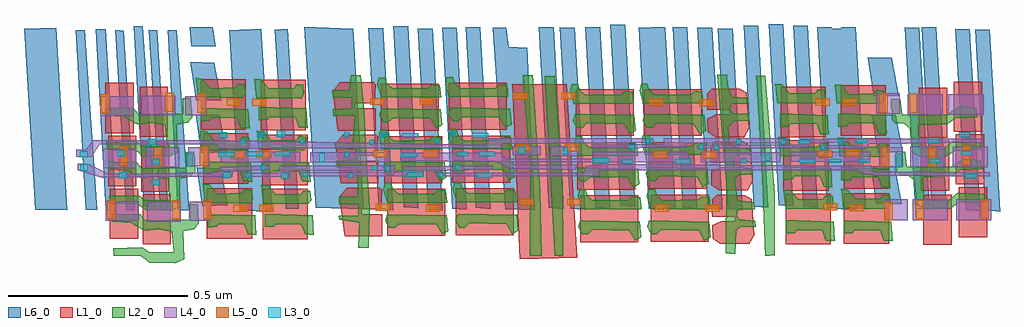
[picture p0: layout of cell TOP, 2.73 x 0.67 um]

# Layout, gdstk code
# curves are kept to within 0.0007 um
import gdstk
lib = gdstk.Library(unit=1e-6, precision=1e-09)
def R(c, l, rs):  # rectangles x0, y0, x1, y1
    for r in rs: c.add(gdstk.rectangle(r[:2], r[2:], *l))
def P(c, l, *ps):  # polygons
    for p in ps: c.add(gdstk.Polygon(p, *l))
L1_0 = (1, 0)
L2_0 = (2, 0)
L3_0 = (3, 0)
L4_0 = (4, 0)
L5_0 = (5, 0)
L6_0 = (6, 0)

top = lib.new_cell('TOP')
R(top, L1_0, [(2.863,-0.75,2.942,-0.61), (0.682,-0.749,0.761,-0.609), (2.478,-0.749,2.604,-0.608), (2.641,-0.747,2.767,-0.606), (1.905,-0.743,2.067,-0.612), (2.101,-0.741,2.263,-0.61), (1.018,-0.735,1.144,-0.594), (0.591,-0.733,0.67,-0.593), (0.862,-0.733,0.988,-0.592), (2.962,-0.729,3.041,-0.589), (1.365,-0.724,1.527,-0.593), (1.557,-0.723,1.719,-0.592), (0.678,-0.602,0.757,-0.462), (2.472,-0.599,2.598,-0.458), (2.856,-0.599,2.935,-0.459), (1.896,-0.596,2.058,-0.465), (2.096,-0.594,2.258,-0.463), (2.641,-0.593,2.767,-0.452), (0.586,-0.586,0.665,-0.446), (1.017,-0.583,1.143,-0.442), (2.954,-0.581,3.033,-0.441), (0.852,-0.579,0.978,-0.438), (1.357,-0.578,1.519,-0.447), (1.547,-0.576,1.709,-0.445), (2.85,-0.451,2.929,-0.311), (2.464,-0.449,2.59,-0.308), (0.674,-0.448,0.753,-0.308), (1.892,-0.446,2.054,-0.315), (2.082,-0.446,2.244,-0.315), (2.632,-0.446,2.758,-0.305), (0.578,-0.438,0.657,-0.298), (2.948,-0.434,3.027,-0.294), (1.348,-0.431,1.51,-0.3), (1.012,-0.43,1.138,-0.289), (0.845,-0.428,0.971,-0.287), (1.537,-0.428,1.699,-0.297)])
P(top, L1_0, [(1.735,-0.79),(1.714,-0.3),(1.867,-0.301),(1.896,-0.786)],
  [(1.228,-0.431),(1.213,-0.321),(1.233,-0.296),(1.326,-0.295),(1.333,-0.301),(1.331,-0.355),(1.276,-0.356),(1.275,-0.368),(1.333,-0.368),(1.333,-0.431)],
  [(1.236,-0.578),(1.22,-0.467),(1.241,-0.442),(1.333,-0.441),(1.34,-0.448),(1.338,-0.501),(1.283,-0.503),(1.283,-0.514),(1.34,-0.515),(1.341,-0.578)],
  [(1.247,-0.726),(1.231,-0.616),(1.252,-0.591),(1.345,-0.59),(1.351,-0.596),(1.349,-0.65),(1.295,-0.651),(1.294,-0.663),(1.351,-0.664),(1.352,-0.726)],
  [(2.282,-0.449),(2.261,-0.436),(2.26,-0.398),(2.285,-0.386),(2.323,-0.385),(2.322,-0.376),(2.286,-0.373),(2.26,-0.374),(2.258,-0.356),(2.259,-0.326),(2.273,-0.312),(2.35,-0.314),(2.37,-0.325),(2.377,-0.425),(2.363,-0.449)],
  [(2.292,-0.597),(2.271,-0.583),(2.27,-0.545),(2.295,-0.534),(2.333,-0.533),(2.332,-0.523),(2.296,-0.521),(2.27,-0.521),(2.268,-0.503),(2.269,-0.473),(2.283,-0.459),(2.36,-0.461),(2.38,-0.473),(2.387,-0.573),(2.373,-0.597)],
  [(2.296,-0.747),(2.275,-0.733),(2.274,-0.695),(2.299,-0.684),(2.337,-0.683),(2.336,-0.673),(2.3,-0.671),(2.274,-0.671),(2.272,-0.653),(2.273,-0.623),(2.287,-0.609),(2.364,-0.611),(2.384,-0.623),(2.391,-0.723),(2.377,-0.747)])
P(top, L2_0, [(0.763,-0.655),(0.692,-0.654),(0.668,-0.636),(0.591,-0.635),(0.589,-0.613),(0.671,-0.611),(0.69,-0.625),(0.758,-0.624),(0.753,-0.567),(0.716,-0.56),(0.681,-0.564),(0.669,-0.561),(0.639,-0.543),(0.588,-0.54),(0.587,-0.517),(0.664,-0.518),(0.68,-0.536),(0.803,-0.533),(0.803,-0.491),(0.826,-0.489),(0.829,-0.544),(0.817,-0.56),(0.786,-0.566),(0.788,-0.644)],
  [(0.755,-0.504),(0.684,-0.503),(0.66,-0.485),(0.583,-0.484),(0.581,-0.462),(0.663,-0.46),(0.682,-0.474),(0.75,-0.473),(0.745,-0.416),(0.707,-0.409),(0.673,-0.414),(0.661,-0.411),(0.631,-0.392),(0.58,-0.389),(0.579,-0.366),(0.656,-0.367),(0.671,-0.385),(0.795,-0.382),(0.795,-0.34),(0.817,-0.338),(0.821,-0.393),(0.809,-0.409),(0.778,-0.415),(0.78,-0.493)],
  [(0.774,-0.801),(0.702,-0.8),(0.678,-0.782),(0.602,-0.781),(0.6,-0.759),(0.681,-0.757),(0.701,-0.771),(0.769,-0.77),(0.764,-0.713),(0.726,-0.706),(0.691,-0.71),(0.68,-0.707),(0.649,-0.689),(0.598,-0.686),(0.597,-0.663),(0.675,-0.664),(0.69,-0.682),(0.813,-0.679),(0.813,-0.637),(0.836,-0.635),(0.839,-0.69),(0.827,-0.706),(0.796,-0.712),(0.798,-0.79)],
  [(1.284,-0.76),(1.288,-0.688),(1.232,-0.68),(1.23,-0.669),(1.284,-0.667),(1.285,-0.637),(1.232,-0.636),(1.232,-0.616),(1.283,-0.616),(1.282,-0.538),(1.224,-0.534),(1.223,-0.515),(1.275,-0.511),(1.278,-0.485),(1.221,-0.481),(1.219,-0.465),(1.269,-0.464),(1.275,-0.39),(1.215,-0.391),(1.214,-0.371),(1.267,-0.368),(1.267,-0.341),(1.214,-0.338),(1.212,-0.318),(1.26,-0.318),(1.263,-0.277),(1.291,-0.277),(1.301,-0.375),(1.316,-0.646),(1.314,-0.758)],
  [(0.988,-0.575),(0.964,-0.573),(0.954,-0.545),(0.882,-0.544),(0.876,-0.552),(0.851,-0.554),(0.851,-0.516),(0.984,-0.52)],
  [(0.981,-0.635),(0.856,-0.633),(0.85,-0.58),(0.869,-0.581),(0.891,-0.607),(0.962,-0.605),(0.969,-0.595),(0.988,-0.597),(0.99,-0.624)],
  [(0.981,-0.426),(0.957,-0.424),(0.947,-0.396),(0.875,-0.395),(0.87,-0.403),(0.845,-0.405),(0.845,-0.367),(0.978,-0.371)],
  [(1.143,-0.424),(1.119,-0.422),(1.109,-0.394),(1.037,-0.394),(1.032,-0.401),(1.006,-0.403),(1.006,-0.365),(1.14,-0.369)],
  [(1.152,-0.575),(1.128,-0.572),(1.117,-0.544),(1.045,-0.544),(1.04,-0.551),(1.015,-0.553),(1.015,-0.515),(1.148,-0.519)],
  [(1.16,-0.723),(1.136,-0.721),(1.126,-0.692),(1.054,-0.692),(1.049,-0.7),(1.023,-0.701),(1.023,-0.663),(1.157,-0.668)],
  [(1,-0.723),(0.976,-0.721),(0.966,-0.693),(0.894,-0.692),(0.889,-0.7),(0.864,-0.702),(0.864,-0.664),(0.997,-0.668)],
  [(2.609,-0.59),(2.585,-0.588),(2.575,-0.56),(2.503,-0.559),(2.498,-0.567),(2.472,-0.569),(2.472,-0.531),(2.606,-0.535)],
  [(2.771,-0.592),(2.747,-0.589),(2.737,-0.561),(2.665,-0.561),(2.66,-0.569),(2.634,-0.57),(2.634,-0.532),(2.768,-0.537)],
  [(2.599,-0.443),(2.575,-0.441),(2.565,-0.412),(2.493,-0.412),(2.488,-0.42),(2.463,-0.421),(2.463,-0.383),(2.596,-0.388)],
  [(2.761,-0.442),(2.737,-0.44),(2.727,-0.412),(2.655,-0.411),(2.65,-0.419),(2.625,-0.421),(2.625,-0.382),(2.758,-0.387)],
  [(2.777,-0.74),(2.753,-0.738),(2.742,-0.71),(2.671,-0.709),(2.665,-0.717),(2.64,-0.719),(2.64,-0.681),(2.773,-0.685)],
  [(1.144,-0.637),(1.019,-0.635),(1.013,-0.582),(1.032,-0.583),(1.054,-0.609),(1.125,-0.607),(1.132,-0.597),(1.151,-0.599),(1.153,-0.626)],
  [(1.132,-0.487),(1.007,-0.485),(1.001,-0.431),(1.02,-0.433),(1.042,-0.458),(1.113,-0.457),(1.119,-0.446),(1.139,-0.448),(1.14,-0.475)],
  [(0.973,-0.487),(0.848,-0.486),(0.842,-0.432),(0.861,-0.433),(0.883,-0.459),(0.954,-0.458),(0.96,-0.447),(0.98,-0.449),(0.981,-0.476)],
  [(0.962,-0.34),(0.837,-0.338),(0.831,-0.284),(0.849,-0.286),(0.871,-0.312),(0.942,-0.31),(0.949,-0.3),(0.968,-0.302),(0.97,-0.328)],
  [(1.125,-0.342),(1,-0.34),(0.994,-0.286),(1.012,-0.288),(1.034,-0.313),(1.105,-0.312),(1.112,-0.301),(1.131,-0.303),(1.133,-0.33)],
  [(2.603,-0.651),(2.478,-0.649),(2.472,-0.596),(2.491,-0.597),(2.513,-0.623),(2.584,-0.621),(2.591,-0.611),(2.61,-0.613),(2.612,-0.64)],
  [(2.589,-0.504),(2.464,-0.502),(2.458,-0.448),(2.477,-0.45),(2.499,-0.476),(2.57,-0.474),(2.577,-0.463),(2.596,-0.466),(2.598,-0.492)],
  [(2.755,-0.505),(2.63,-0.503),(2.624,-0.449),(2.643,-0.451),(2.665,-0.476),(2.735,-0.475),(2.742,-0.464),(2.762,-0.466),(2.763,-0.493)],
  [(2.764,-0.65),(2.639,-0.648),(2.633,-0.594),(2.652,-0.596),(2.674,-0.621),(2.744,-0.62),(2.751,-0.609),(2.771,-0.611),(2.772,-0.638)],
  [(2.58,-0.356),(2.455,-0.354),(2.449,-0.3),(2.468,-0.302),(2.49,-0.327),(2.561,-0.326),(2.568,-0.315),(2.587,-0.317),(2.589,-0.344)],
  [(2.746,-0.357),(2.621,-0.355),(2.615,-0.302),(2.634,-0.303),(2.656,-0.329),(2.726,-0.327),(2.733,-0.317),(2.753,-0.319),(2.754,-0.346)],
  [(1.352,-0.484),(1.342,-0.447),(1.346,-0.429),(1.363,-0.428),(1.37,-0.447),(1.384,-0.459),(1.484,-0.457),(1.495,-0.447),(1.516,-0.45),(1.519,-0.483)],
  [(1.502,-0.425),(1.486,-0.397),(1.382,-0.396),(1.369,-0.408),(1.354,-0.408),(1.343,-0.388),(1.349,-0.369),(1.515,-0.372),(1.519,-0.416)],
  [(1.696,-0.423),(1.679,-0.395),(1.575,-0.393),(1.563,-0.406),(1.548,-0.405),(1.536,-0.385),(1.542,-0.366),(1.709,-0.37),(1.713,-0.414)],
  [(1.705,-0.57),(1.688,-0.542),(1.584,-0.54),(1.572,-0.553),(1.556,-0.552),(1.545,-0.532),(1.551,-0.513),(1.718,-0.516),(1.722,-0.561)],
  [(1.513,-0.572),(1.497,-0.544),(1.393,-0.543),(1.38,-0.555),(1.365,-0.555),(1.354,-0.535),(1.36,-0.516),(1.526,-0.519),(1.53,-0.563)],
  [(1.715,-0.72),(1.699,-0.692),(1.595,-0.69),(1.582,-0.703),(1.567,-0.702),(1.556,-0.682),(1.562,-0.663),(1.728,-0.666),(1.732,-0.711)],
  [(1.519,-0.721),(1.503,-0.693),(1.399,-0.692),(1.386,-0.704),(1.371,-0.703),(1.36,-0.684),(1.366,-0.665),(1.532,-0.668),(1.536,-0.712)],
  [(2.043,-0.441),(2.027,-0.413),(1.923,-0.411),(1.91,-0.424),(1.895,-0.423),(1.884,-0.403),(1.89,-0.384),(2.056,-0.387),(2.06,-0.432)],
  [(2.238,-0.441),(2.222,-0.413),(2.118,-0.411),(2.105,-0.424),(2.09,-0.423),(2.079,-0.403),(2.085,-0.384),(2.251,-0.387),(2.256,-0.432)],
  [(2.247,-0.589),(2.231,-0.561),(2.127,-0.559),(2.114,-0.572),(2.099,-0.571),(2.088,-0.551),(2.094,-0.532),(2.26,-0.535),(2.264,-0.579)],
  [(2.053,-0.59),(2.037,-0.562),(1.933,-0.561),(1.92,-0.573),(1.905,-0.572),(1.894,-0.553),(1.9,-0.534),(2.066,-0.537),(2.07,-0.581)],
  [(2.251,-0.738),(2.235,-0.71),(2.131,-0.708),(2.118,-0.721),(2.103,-0.72),(2.092,-0.7),(2.098,-0.681),(2.265,-0.685),(2.269,-0.729)],
  [(2.058,-0.738),(2.042,-0.71),(1.938,-0.708),(1.925,-0.721),(1.91,-0.72),(1.899,-0.7),(1.905,-0.681),(2.071,-0.685),(2.075,-0.729)],
  [(1.548,-0.484),(1.537,-0.447),(1.541,-0.428),(1.558,-0.427),(1.565,-0.446),(1.58,-0.459),(1.68,-0.457),(1.69,-0.447),(1.712,-0.45),(1.715,-0.483)],
  [(1.537,-0.338),(1.527,-0.301),(1.531,-0.282),(1.548,-0.281),(1.555,-0.3),(1.569,-0.312),(1.669,-0.311),(1.68,-0.301),(1.701,-0.303),(1.704,-0.337)],
  [(1.366,-0.633),(1.355,-0.596),(1.359,-0.577),(1.376,-0.576),(1.383,-0.595),(1.398,-0.607),(1.498,-0.606),(1.508,-0.596),(1.529,-0.598),(1.533,-0.632)],
  [(1.56,-0.631),(1.549,-0.595),(1.553,-0.576),(1.57,-0.575),(1.577,-0.594),(1.592,-0.606),(1.692,-0.604),(1.702,-0.595),(1.723,-0.597),(1.727,-0.631)],
  [(1.898,-0.502),(1.888,-0.465),(1.892,-0.447),(1.909,-0.446),(1.916,-0.465),(1.93,-0.477),(2.03,-0.475),(2.041,-0.465),(2.062,-0.468),(2.066,-0.501)],
  [(1.887,-0.357),(1.877,-0.32),(1.881,-0.301),(1.898,-0.3),(1.904,-0.319),(1.919,-0.331),(2.019,-0.33),(2.03,-0.32),(2.051,-0.322),(2.054,-0.356)],
  [(2.081,-0.356),(2.071,-0.319),(2.075,-0.3),(2.092,-0.3),(2.098,-0.318),(2.113,-0.331),(2.213,-0.329),(2.224,-0.319),(2.245,-0.322),(2.248,-0.355)],
  [(2.086,-0.5),(2.075,-0.463),(2.079,-0.444),(2.097,-0.443),(2.103,-0.462),(2.118,-0.474),(2.218,-0.473),(2.228,-0.463),(2.25,-0.465),(2.253,-0.499)],
  [(2.102,-0.651),(2.091,-0.614),(2.095,-0.595),(2.113,-0.594),(2.119,-0.613),(2.134,-0.625),(2.234,-0.623),(2.245,-0.614),(2.266,-0.616),(2.269,-0.65)],
  [(1.908,-0.651),(1.898,-0.614),(1.902,-0.596),(1.919,-0.595),(1.926,-0.614),(1.94,-0.626),(2.04,-0.624),(2.051,-0.614),(2.072,-0.617),(2.076,-0.651)],
  [(1.797,-0.782),(1.764,-0.781),(1.765,-0.537),(1.744,-0.276),(1.772,-0.275),(1.793,-0.601)],
  [(1.857,-0.781),(1.834,-0.78),(1.806,-0.279),(1.834,-0.278),(1.856,-0.581)],
  [(2.422,-0.782),(2.413,-0.562),(2.396,-0.278),(2.422,-0.278),(2.448,-0.608),(2.448,-0.779)],
  [(2.867,-0.651),(2.845,-0.638),(2.837,-0.569),(2.82,-0.556),(2.798,-0.555),(2.787,-0.546),(2.786,-0.487),(2.812,-0.49),(2.817,-0.532),(2.942,-0.531),(2.974,-0.509),(2.995,-0.509),(3.023,-0.515),(3.028,-0.539),(2.966,-0.542),(2.943,-0.558),(2.862,-0.562),(2.865,-0.623),(2.933,-0.627),(2.959,-0.605),(3.035,-0.608),(3.035,-0.631),(2.962,-0.633),(2.938,-0.649)],
  [(2.855,-0.506),(2.832,-0.493),(2.825,-0.424),(2.808,-0.411),(2.785,-0.41),(2.774,-0.401),(2.773,-0.342),(2.799,-0.344),(2.804,-0.387),(2.929,-0.386),(2.962,-0.364),(2.982,-0.363),(3.011,-0.369),(3.015,-0.394),(2.953,-0.397),(2.93,-0.413),(2.85,-0.416),(2.852,-0.478),(2.92,-0.481),(2.947,-0.46),(3.023,-0.463),(3.023,-0.485),(2.95,-0.488),(2.926,-0.504)],
  [(1.349,-0.338),(1.338,-0.302),(1.342,-0.283),(1.359,-0.282),(1.366,-0.301),(1.381,-0.313),(1.48,-0.311),(1.491,-0.302),(1.512,-0.304),(1.516,-0.338)],
  [(2.338,-0.776),(2.311,-0.774),(2.312,-0.58),(2.287,-0.273),(2.315,-0.275),(2.317,-0.303),(2.326,-0.336),(2.368,-0.339),(2.374,-0.356),(2.325,-0.357),(2.324,-0.371),(2.333,-0.384),(2.375,-0.384),(2.377,-0.403),(2.336,-0.403),(2.318,-0.421),(2.321,-0.459),(2.338,-0.477),(2.379,-0.481),(2.38,-0.498),(2.342,-0.499),(2.332,-0.51),(2.336,-0.53),(2.385,-0.536),(2.386,-0.553),(2.349,-0.555),(2.336,-0.565),(2.344,-0.625),(2.39,-0.631),(2.392,-0.652),(2.344,-0.651),(2.342,-0.669),(2.349,-0.678),(2.393,-0.683),(2.395,-0.701),(2.353,-0.699),(2.34,-0.71)],
  [(2.615,-0.74),(2.591,-0.738),(2.581,-0.709),(2.509,-0.709),(2.504,-0.717),(2.478,-0.718),(2.478,-0.68),(2.612,-0.685)])
R(top, L3_0, [(0.708,-0.584,0.73,-0.567), (1.068,-0.565,1.09,-0.548), (0.615,-0.564,0.638,-0.546), (0.906,-0.564,0.928,-0.546), (2.979,-0.564,3.01,-0.552), (0.971,-0.563,0.985,-0.549), (1.257,-0.563,1.271,-0.549), (1.614,-0.563,1.659,-0.549), (1.13,-0.561,1.144,-0.547), (1.509,-0.561,1.523,-0.547), (1.422,-0.56,1.467,-0.547), (0.508,-0.543,0.531,-0.525), (1.36,-0.543,1.374,-0.529), (1.011,-0.542,1.025,-0.528), (1.322,-0.542,1.336,-0.528), (1.556,-0.541,1.57,-0.527), (0.805,-0.532,0.823,-0.495), (2.785,-0.532,2.804,-0.495), (0.708,-0.527,0.73,-0.509), (2.021,-0.523,2.052,-0.511), (2.169,-0.523,2.213,-0.509), (1.941,-0.522,1.986,-0.508), (2.355,-0.522,2.369,-0.508), (2.516,-0.522,2.56,-0.509), (2.602,-0.521,2.634,-0.509), (2.682,-0.521,2.714,-0.509), (2.88,-0.521,2.912,-0.509), (1.175,-0.519,1.191,-0.493), (2.42,-0.516,2.435,-0.495), (0.507,-0.506,0.529,-0.489), (1.403,-0.506,1.448,-0.493), (0.894,-0.505,0.939,-0.492), (1.246,-0.505,1.26,-0.491), (0.973,-0.503,1.018,-0.489), (1.051,-0.503,1.096,-0.489), (1.622,-0.503,1.666,-0.489), (0.612,-0.502,0.634,-0.485), (1.56,-0.502,1.591,-0.49), (2.968,-0.501,3,-0.489), (1.856,-0.499,1.87,-0.478), (1.731,-0.495,1.751,-0.476), (2.277,-0.486,2.292,-0.472), (2.577,-0.486,2.591,-0.472), (2.043,-0.485,2.057,-0.471), (2.236,-0.485,2.25,-0.471), (0.698,-0.471,0.72,-0.454), (1.315,-0.47,1.329,-0.456), (0.957,-0.469,0.971,-0.455), (2.341,-0.469,2.355,-0.455), (2.465,-0.469,2.479,-0.455), (2.514,-0.469,2.545,-0.457), (2.624,-0.469,2.638,-0.455), (1.121,-0.468,1.135,-0.454), (1.498,-0.468,1.512,-0.454), (2.087,-0.467,2.101,-0.453), (2.674,-0.466,2.706,-0.454), (2.876,-0.466,2.907,-0.454), (0.896,-0.452,0.919,-0.435), (1.407,-0.451,1.452,-0.438), (1.602,-0.451,1.647,-0.437), (1.349,-0.45,1.363,-0.436), (1.006,-0.449,1.02,-0.435), (1.057,-0.449,1.079,-0.432), (1.246,-0.449,1.26,-0.435), (2.963,-0.449,2.994,-0.436), (1.541,-0.447,1.555,-0.433)])
R(top, L4_0, [(0.695,-0.685,0.789,-0.63), (0.579,-0.683,0.672,-0.628), (0.814,-0.683,0.873,-0.63), (2.755,-0.681,2.82,-0.623), (2.833,-0.681,2.931,-0.623), (2.955,-0.681,3.053,-0.623), (0.572,-0.536,0.665,-0.481), (2.74,-0.534,2.805,-0.477), (0.691,-0.533,0.784,-0.477), (2.945,-0.533,3.043,-0.476), (2.826,-0.532,2.924,-0.475), (0.81,-0.531,0.869,-0.478), (1.151,-0.52,1.373,-0.491), (2.241,-0.52,2.463,-0.491), (0.901,-0.519,1.123,-0.49), (2.492,-0.518,2.714,-0.49), (1.821,-0.502,1.899,-0.475), (1.716,-0.5,1.794,-0.474), (0.564,-0.39,0.658,-0.335), (0.679,-0.388,0.773,-0.333), (0.801,-0.388,0.86,-0.335), (2.819,-0.387,2.917,-0.329), (2.933,-0.387,3.031,-0.329), (2.732,-0.384,2.797,-0.327)])
P(top, L4_0, [(0.568,-0.562),(0.501,-0.542),(0.501,-0.524),(0.53,-0.524),(0.586,-0.551),(0.877,-0.547),(0.9,-0.543),(0.898,-0.532),(1.036,-0.528),(1.037,-0.54),(0.934,-0.546),(0.932,-0.56)],
  [(0.539,-0.505),(0.497,-0.504),(0.497,-0.485),(0.524,-0.485),(0.546,-0.456),(0.923,-0.458),(1.646,-0.47),(1.647,-0.452),(2.109,-0.453),(2.11,-0.465),(1.687,-0.469),(1.688,-0.48),(1.04,-0.481),(0.896,-0.483),(0.89,-0.47),(0.562,-0.469)],
  [(0.962,-0.56),(0.963,-0.549),(1.061,-0.548),(1.065,-0.529),(1.386,-0.527),(1.386,-0.543),(1.094,-0.544),(1.093,-0.56)],
  [(1.466,-0.56),(1.124,-0.559),(1.124,-0.547),(1.407,-0.544),(1.41,-0.53),(1.66,-0.528),(1.659,-0.54),(1.468,-0.545)],
  [(1.892,-0.542),(1.706,-0.538),(1.671,-0.52),(1.402,-0.516),(1.403,-0.491),(1.681,-0.493),(1.7,-0.509),(1.941,-0.508),(1.94,-0.49),(2.206,-0.489),(2.209,-0.519),(1.708,-0.52),(1.724,-0.527),(1.895,-0.527)],
  [(1.939,-0.481),(1.938,-0.471),(2.138,-0.468),(2.138,-0.453),(2.485,-0.453),(2.486,-0.467),(2.199,-0.466),(2.2,-0.479)],
  [(2.231,-0.482),(2.231,-0.47),(2.515,-0.469),(2.517,-0.454),(2.65,-0.454),(2.65,-0.464),(2.546,-0.467),(2.541,-0.48)],
  [(2.573,-0.483),(2.575,-0.472),(2.676,-0.47),(2.68,-0.454),(3.029,-0.453),(3.03,-0.465),(2.711,-0.469),(2.705,-0.481)],
  [(1.652,-0.56),(1.503,-0.559),(1.503,-0.548),(1.916,-0.547),(1.919,-0.529),(1.982,-0.524),(2.719,-0.529),(2.723,-0.545),(3.048,-0.547),(3.048,-0.56),(2.726,-0.557),(2.692,-0.552),(2.683,-0.543),(1.956,-0.542),(1.957,-0.558)])
R(top, L5_0, [(2.754,-0.682,2.777,-0.629), (0.583,-0.679,0.606,-0.626), (0.765,-0.679,0.788,-0.626), (0.851,-0.679,0.874,-0.626), (2.841,-0.678,2.864,-0.625), (3.023,-0.677,3.046,-0.624), (0.936,-0.658,0.976,-0.638), (1.008,-0.658,1.048,-0.638), (1.473,-0.658,1.512,-0.638), (2.255,-0.658,2.294,-0.638), (2.113,-0.657,2.152,-0.637), (2.657,-0.656,2.696,-0.636), (1.334,-0.655,1.374,-0.635), (2.583,-0.654,2.622,-0.634), (1.735,-0.64,1.774,-0.621), (1.869,-0.64,1.908,-0.621), (2.876,-0.531,2.899,-0.478), (0.714,-0.53,0.737,-0.477), (2.745,-0.53,2.768,-0.477), (0.618,-0.529,0.641,-0.476), (0.842,-0.529,0.865,-0.476), (2.972,-0.528,2.994,-0.475), (0.929,-0.508,0.968,-0.489), (2.108,-0.508,2.147,-0.489), (2.247,-0.508,2.286,-0.489), (1,-0.507,1.039,-0.487), (1.326,-0.506,1.365,-0.486), (1.466,-0.506,1.506,-0.486), (2.568,-0.506,2.608,-0.486), (2.645,-0.503,2.685,-0.483), (1.725,-0.489,1.764,-0.469), (1.862,-0.488,1.901,-0.468), (0.566,-0.382,0.589,-0.329), (0.835,-0.381,0.858,-0.328), (2.74,-0.381,2.763,-0.328), (2.823,-0.381,2.846,-0.328), (0.746,-0.379,0.769,-0.325), (2.238,-0.363,2.277,-0.343), (0.917,-0.362,0.957,-0.342), (0.989,-0.362,1.028,-0.342), (2.097,-0.362,2.137,-0.342), (2.561,-0.362,2.601,-0.342), (2.638,-0.361,2.677,-0.341), (1.318,-0.359,1.357,-0.34), (1.456,-0.359,1.495,-0.339), (1.717,-0.344,1.757,-0.325), (1.851,-0.343,1.89,-0.324)])
P(top, L6_0, [(0.609,-0.655),(0.58,-0.653),(0.551,-0.148),(0.579,-0.148)],
  [(0.661,-0.655),(0.636,-0.653),(0.606,-0.149),(0.629,-0.152)],
  [(0.754,-0.654),(0.731,-0.652),(0.699,-0.149),(0.723,-0.15)],
  [(0.812,-0.654),(0.78,-0.653),(0.752,-0.151),(0.778,-0.15)],
  [(0.832,-0.348),(0.816,-0.239),(0.883,-0.241),(0.902,-0.346)],
  [(0.846,-0.494),(0.831,-0.385),(0.897,-0.387),(0.917,-0.492)],
  [(0.849,-0.642),(0.834,-0.534),(0.9,-0.536),(0.92,-0.64)],
  [(1.045,-0.657),(0.954,-0.655),(0.924,-0.15),(1.014,-0.147)],
  [(1.382,-0.653),(1.342,-0.65),(1.313,-0.144),(1.354,-0.145)],
  [(1.521,-0.655),(1.48,-0.652),(1.451,-0.146),(1.492,-0.147)],
  [(1.918,-0.652),(1.877,-0.649),(1.848,-0.143),(1.889,-0.144)],
  [(2.302,-0.652),(2.261,-0.649),(2.232,-0.143),(2.273,-0.144)],
  [(2.171,-0.651),(2.13,-0.648),(2.101,-0.142),(2.142,-0.143)],
  [(2.137,-0.652),(2.096,-0.649),(2.068,-0.143),(2.109,-0.144)],
  [(2.636,-0.65),(2.595,-0.647),(2.566,-0.141),(2.607,-0.142)],
  [(2.676,-0.654),(2.635,-0.651),(2.606,-0.145),(2.647,-0.146)],
  [(2.702,-0.651),(2.661,-0.648),(2.633,-0.142),(2.674,-0.143)],
  [(2.881,-0.652),(2.84,-0.649),(2.811,-0.143),(2.852,-0.144)],
  [(2.928,-0.651),(2.887,-0.648),(2.858,-0.142),(2.899,-0.143)],
  [(3.022,-0.656),(2.981,-0.653),(2.952,-0.147),(2.993,-0.148)],
  [(3.077,-0.657),(3.036,-0.654),(3.008,-0.148),(3.049,-0.149)],
  [(2.724,-0.335),(2.708,-0.226),(2.775,-0.228),(2.794,-0.333)],
  [(2.735,-0.493),(2.719,-0.385),(2.786,-0.387),(2.805,-0.491)],
  [(2.732,-0.637),(2.716,-0.529),(2.783,-0.531),(2.802,-0.635)],
  [(1.777,-0.654),(1.695,-0.651),(1.66,-0.144),(1.698,-0.144),(1.705,-0.197),(1.757,-0.2)],
  [(1.3,-0.651),(1.166,-0.647),(1.134,-0.141),(1.27,-0.147)],
  [(1.082,-0.649),(1.052,-0.149),(1.088,-0.147),(1.118,-0.649)],
  [(0.886,-0.197),(0.818,-0.195),(0.814,-0.143),(0.878,-0.143)],
  [(1.988,-0.65),(1.947,-0.647),(1.919,-0.141),(1.96,-0.142)],
  [(2.058,-0.644),(2.017,-0.641),(1.989,-0.135),(2.03,-0.136)],
  [(1.858,-0.65),(1.817,-0.647),(1.789,-0.141),(1.83,-0.142)],
  [(1.654,-0.65),(1.613,-0.647),(1.585,-0.141),(1.626,-0.142)],
  [(1.588,-0.652),(1.547,-0.649),(1.519,-0.143),(1.56,-0.144)],
  [(1.452,-0.648),(1.411,-0.645),(1.383,-0.139),(1.424,-0.14)],
  [(2.232,-0.65),(2.191,-0.647),(2.163,-0.141),(2.204,-0.142)],
  [(2.358,-0.654),(2.317,-0.651),(2.289,-0.145),(2.33,-0.146)],
  [(2.43,-0.646),(2.389,-0.643),(2.361,-0.137),(2.402,-0.138)],
  [(2.5,-0.642),(2.459,-0.639),(2.431,-0.133),(2.472,-0.134)],
  [(2.568,-0.646),(2.527,-0.643),(2.499,-0.137),(2.54,-0.138)],
  [(0.717,-0.643),(0.685,-0.642),(0.657,-0.14),(0.683,-0.139)],
  [(0.555,-0.653),(0.523,-0.652),(0.495,-0.15),(0.521,-0.149)],
  [(0.472,-0.654),(0.382,-0.652),(0.351,-0.147),(0.441,-0.144)])

lib.write_gds('TOP.gds')
